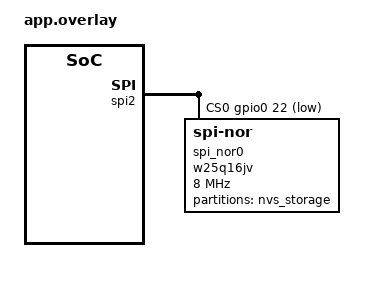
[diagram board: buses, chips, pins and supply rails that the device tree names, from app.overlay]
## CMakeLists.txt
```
# SPDX-License-Identifier: Apache-2.0

cmake_minimum_required(VERSION 3.20.0)
find_package(Zephyr REQUIRED HINTS $ENV{ZEPHYR_BASE})
project(zephyr_spi_nor_nvs)

target_sources(app PRIVATE src/main.c)
```

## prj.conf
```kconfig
# SPDX-License-Identifier: Apache-2.0
CONFIG_MAIN_STACK_SIZE=2048
CONFIG_MINIMAL_LIBC=y
CONFIG_PICOLIBC=n
CONFIG_GPIO=y
CONFIG_SPI=y
CONFIG_FLASH=y
CONFIG_FLASH_MAP=y
CONFIG_FLASH_PAGE_LAYOUT=y
CONFIG_SPI_NOR=y
CONFIG_NORDIC_QSPI_NOR=n
CONFIG_SPI_NOR_FLASH_LAYOUT_PAGE_SIZE=4096
CONFIG_SPI_NOR_SFDP_RUNTIME=y
CONFIG_NVS=y
CONFIG_MPU_ALLOW_FLASH_WRITE=y
```

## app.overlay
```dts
/*
 * SPDX-License-Identifier: Apache-2.0
 *
 * Devicetree overlay for Zephyr NVS storage subsystem on external JEDEC
 * SPI NOR flash (Winbond W25Q16JV) attached to spi2 (0x40023000, CS# P0.22).
 */

&qspi {
    status = "disabled";
};

&mx25r64 {
    status = "disabled";
};

&flash0 {
    /delete-node/ partitions;

    partitions {
        compatible = "fixed-partitions";
        #address-cells = <1>;
        #size-cells = <1>;

        boot_partition: partition@0 {
            label = "mcuboot";
            reg = <0x00000000 0x0000C000>;
        };
        slot0_partition: partition@c000 {
            label = "image-0";
            reg = <0x0000C000 0x00020000>;
        };
    };
};

&spi2 {
    compatible = "nordic,nrf-spi";
    status = "okay";
    cs-gpios = <&gpio0 22 GPIO_ACTIVE_LOW>;

    spi_nor0: w25q16jv@0 {
        compatible = "jedec,spi-nor";
        reg = <0>;
        spi-max-frequency = <8000000>;
        jedec-id = [ef 40 15];
        size = <0x1000000>;

        partitions {
            compatible = "fixed-partitions";
            #address-cells = <1>;
            #size-cells = <1>;

            nvs_storage: partition@0 {
                label = "nvs_storage";
                reg = <0x00000000 0x00003000>;
            };
        };
    };
};

/ {
    chosen {
        zephyr,code-partition = &boot_partition;
    };
};
```

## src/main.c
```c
/*
 * Copyright (c) 2026 Neil Berkman
 * SPDX-License-Identifier: Apache-2.0
 *
 * Zephyr NVS storage subsystem target running on external JEDEC SPI NOR flash
 * (jedec,spi-nor on nRF52840 SPI2).
 *
 * On each boot:
 *   1. Mounts the 3-sector (12 KiB) NVS filesystem on spi_nor0 (`nvs_storage`).
 *   2. Reads back the pre-cut anchor records (KEY_ANCHOR_1 = 0xC0FFEE11 and
 *      KEY_ANCHOR_2 = 0x5AFE2233) that were committed before the power cut.
 *   3. Performs a batch of NVS writes (and garbage-collection sector erase/rotation)
 *      so fault sweeps cut both SPI NOR Page Programs (0x02) and Sector Erases (0x20).
 *   4. Re-reads the pre-cut anchor records from SPI NOR flash, publishes the
 *      read-back values and verification verdict to SRAM at 0x2003F000..0x2003F00C,
 *      for the audit harness to evaluate directly.
 */

#include <zephyr/kernel.h>
#include <zephyr/device.h>
#include <zephyr/drivers/flash.h>
#include <zephyr/storage/flash_map.h>
#include <zephyr/fs/nvs.h>
#include <cmsis_core.h>
#include <stdint.h>
#include <string.h>

#define NVS_PARTITION          nvs_storage
#define NVS_PARTITION_DEVICE   FIXED_PARTITION_DEVICE(NVS_PARTITION)
#define NVS_PARTITION_OFFSET   FIXED_PARTITION_OFFSET(NVS_PARTITION)

#define KEY_ANCHOR_1           0x0001U
#define KEY_ANCHOR_2           0x0002U
#define KEY_COUNTER            0x0010U
#define KEY_BLOB               0x0020U

#define EXPECTED_ANCHOR_1      0xC0FFEE11UL
#define EXPECTED_ANCHOR_2      0x5AFE2233UL
#define RESULT_MAGIC_SPINOR    0x5350494EUL /* "SPIN" */

#define RESULT_SRAM_BASE       0x2003F000UL

struct sram_verdict {
    volatile uint32_t magic;
    volatile uint32_t anchor1_value;
    volatile uint32_t anchor2_value;
    volatile uint32_t status_ok;
    volatile uint32_t counter_value;
};

int main(void)
{
    struct sram_verdict *verdict = (struct sram_verdict *)RESULT_SRAM_BASE;
    struct nvs_fs fs;
    struct flash_pages_info info;
    int rc;

    verdict->magic = 0U;
    verdict->anchor1_value = 0U;
    verdict->anchor2_value = 0U;
    verdict->status_ok = 0U;
    verdict->counter_value = 0U;

    memset(&fs, 0, sizeof(fs));
    fs.flash_device = NVS_PARTITION_DEVICE;
    if (!device_is_ready(fs.flash_device)) {
        verdict->magic = 0xBAD00001UL;
        goto halt;
    }

    fs.offset = NVS_PARTITION_OFFSET;
    rc = flash_get_page_info_by_offs(fs.flash_device, fs.offset, &info);
    if (rc != 0) {
        verdict->magic = 0xBAD00002UL;
        goto halt;
    }
    fs.sector_size = info.size;
    fs.sector_count = 3U;

    rc = nvs_mount(&fs);
    if (rc != 0) {
        verdict->magic = 0xBAD00003UL;
        goto halt;
    }

    /* Read back pre-cut anchor records from SPI NOR flash. */
    uint32_t a1 = 0U;
    uint32_t a2 = 0U;
    ssize_t r1 = nvs_read(&fs, KEY_ANCHOR_1, &a1, sizeof(a1));
    ssize_t r2 = nvs_read(&fs, KEY_ANCHOR_2, &a2, sizeof(a2));
    if (r1 != (ssize_t)sizeof(a1) || r2 != (ssize_t)sizeof(a2)) {
        verdict->magic = 0xBAD00004UL;
        verdict->anchor1_value = a1;
        verdict->anchor2_value = a2;
        goto halt;
    }

    /* Perform runtime NVS updates across the SPI NOR sectors (triggers both
     * 0x02 Page Programs and 0x20 4 KiB Sector Erase during NVS GC rotation).
     */
    uint32_t counter = 0U;
    (void)nvs_read(&fs, KEY_COUNTER, &counter, sizeof(counter));
    for (uint32_t step = 0U; step < 4U; step++) {
        counter++;
        rc = (int)nvs_write(&fs, KEY_COUNTER, &counter, sizeof(counter));
        if (rc < 0) {
            verdict->magic = 0xBAD00005UL;
            goto halt;
        }
    }

    uint32_t blob[4] = {
        0xA5A50000UL | (counter & 0xFFFFUL),
        0x5A5A0000UL | (counter & 0xFFFFUL),
        EXPECTED_ANCHOR_1 ^ counter,
        EXPECTED_ANCHOR_2 ^ counter,
    };
    rc = (int)nvs_write(&fs, KEY_BLOB, blob, sizeof(blob));
    if (rc < 0) {
        verdict->magic = 0xBAD00006UL;
        goto halt;
    }

    /* Re-read the pre-cut anchor records after runtime updates/recovery. */
    uint32_t verify_a1 = 0U;
    uint32_t verify_a2 = 0U;
    r1 = nvs_read(&fs, KEY_ANCHOR_1, &verify_a1, sizeof(verify_a1));
    r2 = nvs_read(&fs, KEY_ANCHOR_2, &verify_a2, sizeof(verify_a2));

    verdict->magic = RESULT_MAGIC_SPINOR;
    verdict->anchor1_value = verify_a1;
    verdict->anchor2_value = verify_a2;
    verdict->counter_value = counter;
    if (r1 == (ssize_t)sizeof(verify_a1) &&
        r2 == (ssize_t)sizeof(verify_a2) &&
        verify_a1 == EXPECTED_ANCHOR_1 &&
        verify_a2 == EXPECTED_ANCHOR_2) {
        verdict->status_ok = 1U;
    } else {
        verdict->status_ok = 0U;
    }

    (void)irq_lock();
halt:
    (void)irq_lock();
    while (1) {
        __NOP();
    }
    return 0;
}
```
